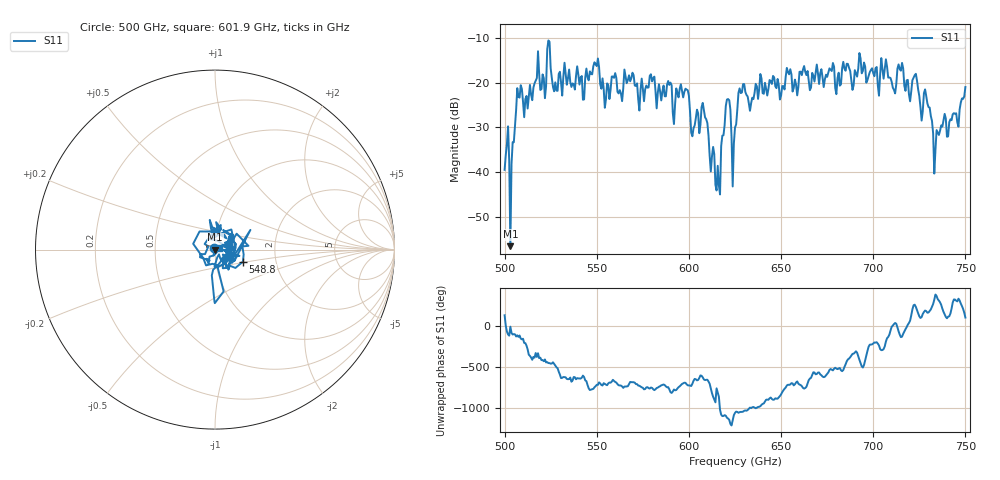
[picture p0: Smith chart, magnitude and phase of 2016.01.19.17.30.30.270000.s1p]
!Created with skrf (http://scikit-rf.org).
# GHz S RI R 50.0
!freq ReS11 ImS11
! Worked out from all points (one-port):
!   401 points, 500 GHz to 750 GHz, reference 50 ohm
!   lowest |S11| = -56.6 dB at 503.1 GHz (marker M1), VSWR 1.00, Z = 50.1 - j0.0223 ohm
!   |S11| at or under -10 dB: start of sweep to end of sweep
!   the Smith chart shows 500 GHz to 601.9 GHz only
!   S11 on the Smith chart (normalised r, x): 500 GHz: 0.99, +0.02; 548.8 GHz: 1.35, -0.19; 601.9 GHz: 1.05, +0.02
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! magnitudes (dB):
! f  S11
! 500 GHz  -39.5
! 503.1 GHz  -56.6
! 508.1 GHz  -23.3
! 521.2 GHz  -19.0
! 524.4 GHz  -10.8
! 527.5 GHz  -19.9
! 531.2 GHz  -22.9
! 541.9 GHz  -18.5
! 548.8 GHz  -15.4
! 562.5 GHz  -21.7
! 568.8 GHz  -19.0
! 593.8 GHz  -22.2
! 598.8 GHz  -21.5
! 601.9 GHz  -32.0
! 608.1 GHz  -26.1
! 615.6 GHz  -38.6
! 621.2 GHz  -23.7
! 625 GHz  -30.0
! 628.8 GHz  -22.2
! 656.2 GHz  -22.0
! 687.5 GHz  -17.3
! 705.6 GHz  -19.1
! 711.2 GHz  -21.6
! 715 GHz  -17.3
! 718.8 GHz  -19.3
! 728.8 GHz  -23.0
! 734.4 GHz  -30.6
! 750 GHz  -21.0
